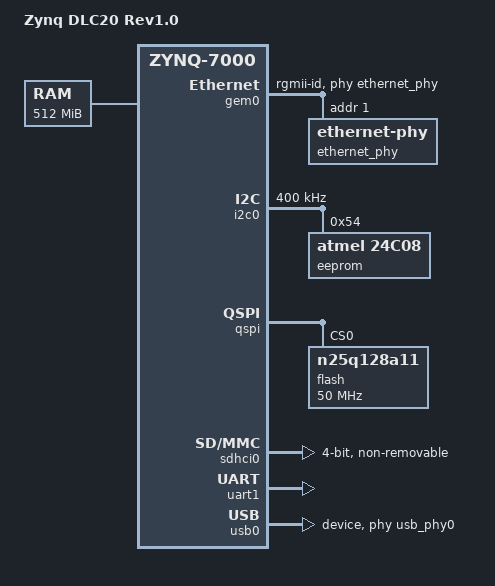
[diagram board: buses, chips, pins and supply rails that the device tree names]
// SPDX-License-Identifier: GPL-2.0
/*
 * Copyright (C) 2018 Xilinx, Inc.
 *
 * Michal Simek <michal.simek@xilinx.com>
 */
/dts-v1/;
#include "zynq-7000.dtsi"

/ {
	model = "Zynq DLC20 Rev1.0";
	compatible = "xlnx,zynq-dlc20-rev1.0", "xlnx,zynq-dlc20",
		     "xlnx,zynq-7000";

	aliases {
		ethernet0 = &gem0;
		i2c0 = &i2c0;
		serial0 = &uart1;
		spi0 = &qspi;
		mmc0 = &sdhci0;
	};

	memory@0 {
		device_type = "memory";
		reg = <0x0 0x20000000>;
	};

	chosen {
		bootargs = "earlyprintk";
		stdout-path = "serial0:115200n8";
	};

	usb_phy0: phy0@e0002000 {
		compatible = "ulpi-phy";
		#phy-cells = <0>;
		reg = <0xe0002000 0x1000>;
		view-port = <0x0170>;
		drv-vbus;
	};
};

&clkc {
	ps-clk-frequency = <33333333>; /* U7 */
};

&gem0 {
	status = "okay"; /* MIO16-MIO27, MDIO MIO52/53 */
	phy-mode = "rgmii-id";
	phy-handle = <&ethernet_phy>;

	ethernet_phy: ethernet-phy@7 { /* rtl8211e - U25 */
		reg = <1>;
	};
};

&i2c0 {
	status = "okay"; /* MIO14/15 */
	clock-frequency = <400000>;
	/* U46 - m24c08 */
	eeprom: eeprom@54 {
		compatible = "atmel,24c08";
		reg = <0x54>;
	};
};

&qspi {
	u-boot,dm-pre-reloc;
	status = "okay";
	is-dual = <0>;
	num-cs = <1>;
	spi-tx-bus-width = <4>;
	spi-rx-bus-width = <4>;
	flash@0 {
		/* Rev1.0 W25Q128FWSIG, RevC N25Q128A */
		compatible = "n25q128a11", "jedec,spi-nor";
		reg = <0x0>;
		spi-tx-bus-width = <1>;
		spi-rx-bus-width = <4>;
		spi-max-frequency = <50000000>;
	};
};

&sdhci0 {
	u-boot,dm-pre-reloc;
	status = "okay"; /* EMMC MTFC4GACAJCN - MIO40-MIO45 */
	non-removable;
	bus-width = <4>;
};

&uart1 {
	u-boot,dm-pre-reloc;
	status = "okay"; /* MIO8/9 */
};

&usb0 {
	status = "okay"; /* MIO28-MIO39 */
	dr_mode = "device";
	usb-phy = <&usb_phy0>;
};

&watchdog0 {
	reset-on-timeout;
};
